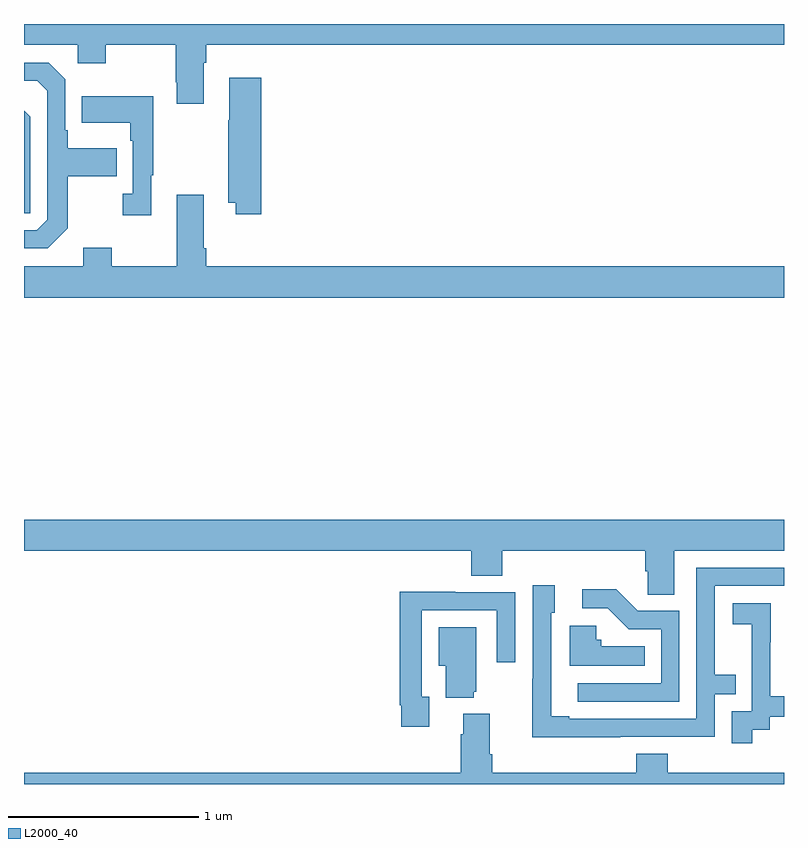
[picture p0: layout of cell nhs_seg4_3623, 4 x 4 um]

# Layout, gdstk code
import gdstk
lib = gdstk.Library(unit=1e-6, precision=1e-09)
def P(c, l, *ps):  # polygons
    for p in ps: c.add(gdstk.Polygon(p, *l))
L2000_40 = (2000, 40)

nhs_seg4_3623 = lib.new_cell('nhs_seg4_3623')
P(nhs_seg4_3623, L2000_40, [(301.945,824.696),(301.958,824.696),(301.958,824.792),(305,824.792),(305,824.9),(301,824.9),(301,824.792),(301.284,824.792),(301.284,824.693),(301.431,824.693),(301.431,824.792),(301.798,824.792),(301.798,824.593),(301.805,824.593),(301.805,824.481),(301.945,824.481)],
  [(301.231,823.825),(301.231,824.098),(301.487,824.098),(301.487,824.245),(301.231,824.245),(301.231,824.341),(301.218,824.341),(301.218,824.61),(301.131,824.697),(301,824.697),(301,824.601),(301.071,824.601),(301.122,824.55),(301.122,823.869),(301.068,823.815),(301,823.815),(301,823.719),(301.125,823.719)],
  [(302.249,824.617),(302.081,824.617),(302.081,824.393),(302.074,824.393),(302.074,823.958),(302.114,823.958),(302.114,823.899),(302.249,823.899)],
  [(301.669,824.105),(301.681,824.105),(301.681,824.521),(301.303,824.521),(301.303,824.381),(301.56,824.381),(301.56,824.285),(301.572,824.285),(301.572,824.006),(301.521,824.006),(301.521,823.893),(301.669,823.893)],
  [(301.032,824.412),(301,824.444),(301,823.905),(301.032,823.905)],
  [(305,823.624),(301.958,823.624),(301.958,823.72),(301.945,823.72),(301.945,824.002),(301.805,824.002),(301.805,823.624),(301.461,823.624),(301.461,823.723),(301.313,823.723),(301.313,823.624),(301,823.624),(301,823.46),(305,823.46)],
  [(304.423,822.128),(305,822.128),(305,822.292),(301,822.292),(301,822.128),(303.353,822.128),(303.353,821.995),(303.518,821.995),(303.518,822.128),(304.271,822.128),(304.271,822.019),(304.284,822.019),(304.284,821.896),(304.423,821.896)],
  [(304.139,821.148),(304.635,821.148),(304.635,821.373),(304.745,821.373),(304.745,821.474),(304.635,821.474),(304.635,821.943),(305,821.943),(305,822.039),(304.539,822.039),(304.539,821.244),(303.871,821.244),(303.871,821.257),(303.774,821.257),(303.774,821.802),(303.793,821.802),(303.793,821.947),(303.678,821.947),(303.678,821.453),(303.676,821.453),(303.676,821.147),(304.139,821.147)],
  [(304.449,821.811),(304.23,821.811),(304.117,821.924),(303.939,821.924),(303.939,821.826),(304.073,821.826),(304.184,821.715),(304.353,821.715),(304.353,821.43),(303.915,821.43),(303.915,821.334),(304.449,821.334)],
  [(303.133,821.358),(303.093,821.358),(303.093,821.814),(303.489,821.814),(303.489,821.541),(303.585,821.541),(303.585,821.91),(303.269,821.91),(303.269,821.912),(302.977,821.912),(302.977,821.314),(302.985,821.314),(302.985,821.202),(303.133,821.202)],
  [(304.834,821.185),(304.926,821.185),(304.926,821.253),(305,821.253),(305,821.362),(304.928,821.362),(304.928,821.645),(304.929,821.645),(304.929,821.851),(304.731,821.851),(304.731,821.741),(304.829,821.741),(304.829,821.513),(304.83,821.513),(304.83,821.283),(304.725,821.283),(304.725,821.115),(304.834,821.115)],
  [(304.268,821.626),(304.038,821.626),(304.038,821.658),(304.011,821.658),(304.011,821.734),(303.872,821.734),(303.872,821.522),(304.268,821.522)],
  [(303.368,821.385),(303.379,821.385),(303.379,821.725),(303.182,821.725),(303.182,821.522),(303.221,821.522),(303.221,821.354),(303.368,821.354)],
  [(305,820.96),(304.388,820.96),(304.388,821.059),(304.223,821.059),(304.223,820.96),(303.464,820.96),(303.464,821.056),(303.451,821.056),(303.451,821.269),(303.311,821.269),(303.311,821.162),(303.299,821.162),(303.299,820.96),(301,820.96),(301,820.9),(305,820.9)])

lib.write_gds('nhs_seg4_3623.gds')
